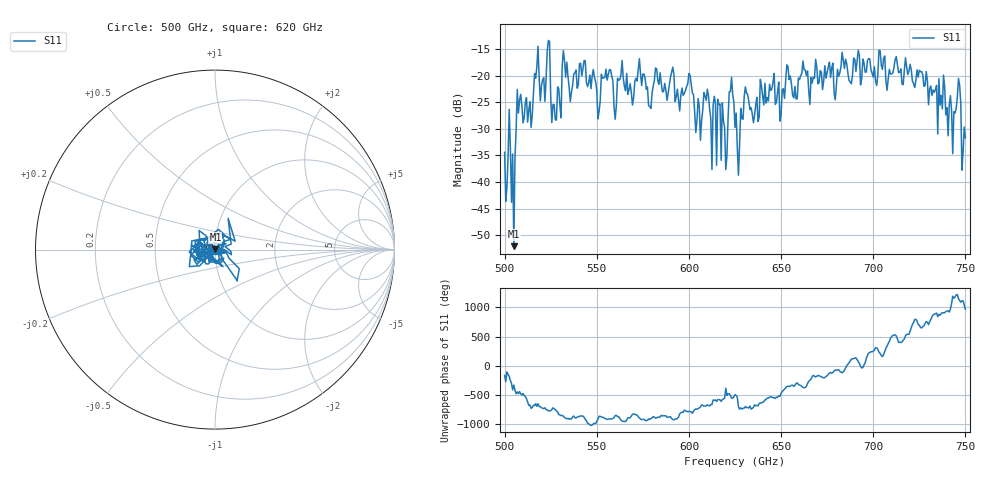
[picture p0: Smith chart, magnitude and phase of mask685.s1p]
!Created with skrf (http://scikit-rf.org).
# GHz S MA R 50.0
!freq magS11 angS11
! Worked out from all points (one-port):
!   401 points, 500 GHz to 750 GHz, reference 50 ohm
!   lowest |S11| = -52.1 dB at 505 GHz (marker M1), VSWR 1.00, Z = 50.2 + j0.113 ohm
!   |S11| at or under -10 dB: start of sweep to end of sweep
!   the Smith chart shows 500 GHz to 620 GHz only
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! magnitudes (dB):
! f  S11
! 500 GHz  -34.4
! 505 GHz  -52.1
! 508.1 GHz  -24.6
! 513.8 GHz  -24.9
! 516.9 GHz  -20.5
! 520.6 GHz  -20.8
! 523.8 GHz  -13.4
! 526.9 GHz  -25.5
! 531.2 GHz  -18.1
! 542.5 GHz  -18.7
! 550.6 GHz  -28.1
! 562.5 GHz  -20.8
! 590.6 GHz  -19.4
! 593.8 GHz  -22.6
! 600 GHz  -19.6
! 605 GHz  -24.3
! 609.4 GHz  -24.7
! 620 GHz  -37.7
! 623.1 GHz  -20.3
! 625 GHz  -29.8
! 626.2 GHz  -33.5
! 631.2 GHz  -23.3
! 656.2 GHz  -23.7
! 687.5 GHz  -21.2
! 718.8 GHz  -19.8
! 741.9 GHz  -23.8
! 746.2 GHz  -20.5
! 750 GHz  -31.7
